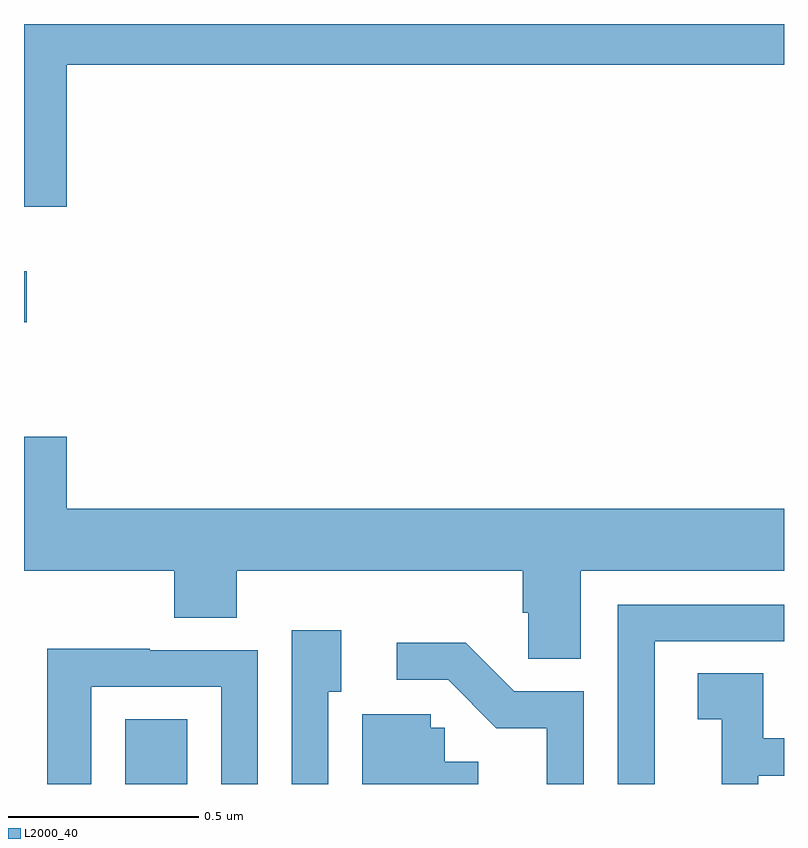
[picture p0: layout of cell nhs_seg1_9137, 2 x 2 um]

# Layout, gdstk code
import gdstk
lib = gdstk.Library(unit=1e-6, precision=1e-09)
def R(c, l, rs):  # rectangles x0, y0, x1, y1
    for r in rs: c.add(gdstk.rectangle(r[:2], r[2:], *l))
def P(c, l, *ps):  # polygons
    for p in ps: c.add(gdstk.Polygon(p, *l))
L2000_40 = (2000, 40)

nhs_seg1_9137 = lib.new_cell('nhs_seg1_9137')
R(nhs_seg1_9137, L2000_40, [(225.266,523.199,225.43,523.37), (225,524.414,225.007,524.548)])
P(nhs_seg1_9137, L2000_40, [(225.112,525.092),(227,525.092),(227,525.199),(225,525.199),(225,524.718),(225.112,524.718)],
  [(226.465,523.76),(227,523.76),(227,523.924),(225.112,523.924),(225.112,524.113),(225,524.113),(225,523.76),(225.395,523.76),(225.395,523.636),(225.56,523.636),(225.56,523.76),(226.313,523.76),(226.313,523.65),(226.327,523.65),(226.327,523.528),(226.465,523.528)],
  [(226.66,523.575),(227,523.575),(227,523.671),(226.563,523.671),(226.563,523.199),(226.66,523.199)],
  [(225.801,523.442),(225.835,523.442),(225.835,523.603),(225.705,523.603),(225.705,523.199),(225.801,523.199)],
  [(226.473,523.443),(226.29,523.443),(226.162,523.571),(225.981,523.571),(225.981,523.473),(226.116,523.473),(226.243,523.346),(226.376,523.346),(226.376,523.199),(226.473,523.199)],
  [(225.177,523.455),(225.519,523.455),(225.519,523.199),(225.615,523.199),(225.615,523.551),(225.331,523.551),(225.331,523.555),(225.061,523.555),(225.061,523.199),(225.177,523.199)],
  [(226.932,523.221),(227,523.221),(227,523.32),(226.945,523.32),(226.945,523.49),(226.773,523.49),(226.773,523.369),(226.836,523.369),(226.836,523.199),(226.932,523.199)],
  [(226.195,523.258),(226.107,523.258),(226.107,523.347),(226.071,523.347),(226.071,523.383),(225.89,523.383),(225.89,523.199),(226.195,523.199)])

lib.write_gds('nhs_seg1_9137.gds')
